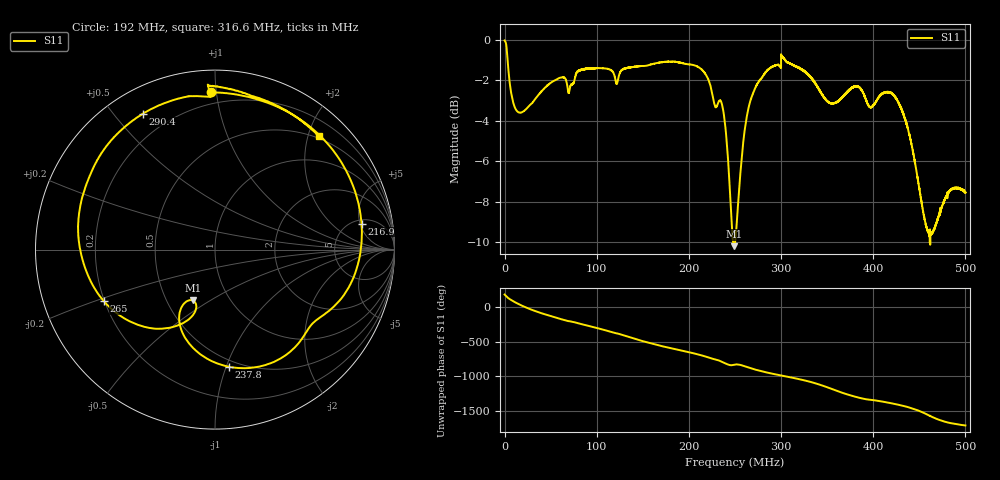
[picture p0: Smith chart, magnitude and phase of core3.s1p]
# HZ S RI R 50
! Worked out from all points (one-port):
!   10100 points, 50 kHz to 500 MHz, reference 50 ohm
!   lowest |S11| = -10.2 dB at 248.9 MHz (marker M1), VSWR 1.90, Z = 33.7 - j21.1 ohm
!   |S11| at or under -10 dB: 247.9 MHz to 250.1 MHz (2.188 MHz wide, 0.879 % of centre); 461.4292 MHz to 461.4374 MHz (8.219 kHz wide, 0.00178 % of centre); 461.818 MHz to 461.8415 MHz (23.46 kHz wide, 0.00508 % of centre)
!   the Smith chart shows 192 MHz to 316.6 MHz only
!   S11 on the Smith chart (normalised r, x): 192 MHz: 0.13, +0.97; 216.9 MHz: 5.71, +5.32; 237.8 MHz: 0.45, -1.02; 265 MHz: 0.20, -0.21; 290.4 MHz: 0.10, +0.60; 316.6 MHz: 0.46, +2.19
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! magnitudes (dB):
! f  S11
! 50 kHz  0.0
! 8.03 MHz  -2.9
! 15.01 MHz  -3.6
! 62.59 MHz  -1.9
! 70.31 MHz  -2.5
! 83.68 MHz  -1.5
! 125.1 MHz  -1.6
! 187.6 MHz  -1.1
! 192 MHz  -1.2
! 216.9 MHz  -1.6
! 237.8 MHz  -3.6
! 241.6 MHz  -5.3
! 246.9 MHz  -9.5
! 248.9 MHz  -10.2
! 250 MHz  -10.0
! 258.7 MHz  -5.2
! 265 MHz  -3.3
! 290.4 MHz  -1.3
! 312.6 MHz  -1.3
! 316.6 MHz  -1.3
! 352.9 MHz  -3.1
! 375 MHz  -2.5
! 397.2 MHz  -3.3
! 420 MHz  -2.7
! 437.5 MHz  -4.4
! 460.7 MHz  -9.6
! 483.2 MHz  -7.5
! 500 MHz  -7.5
